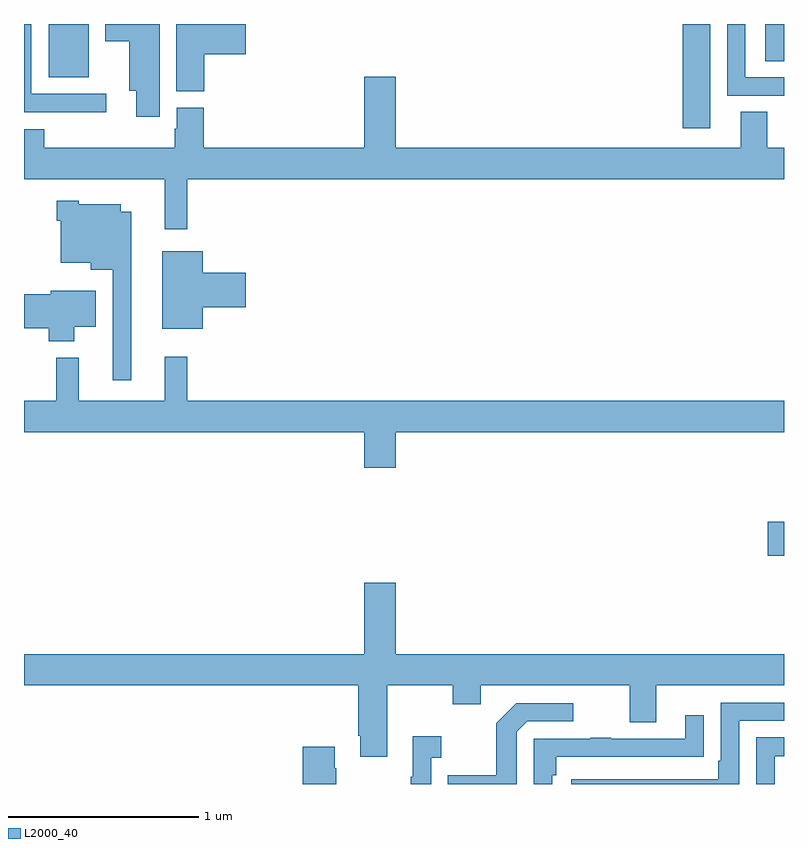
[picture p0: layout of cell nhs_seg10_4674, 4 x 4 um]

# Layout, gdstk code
import gdstk
lib = gdstk.Library(unit=1e-6, precision=1e-09)
def R(c, l, rs):  # rectangles x0, y0, x1, y1
    for r in rs: c.add(gdstk.rectangle(r[:2], r[2:], *l))
def P(c, l, *ps):  # polygons
    for p in ps: c.add(gdstk.Polygon(p, *l))
L2000_40 = (2000, 40)

nhs_seg10_4674 = lib.new_cell('nhs_seg10_4674')
R(nhs_seg10_4674, L2000_40, [(382.914,1263.701,383,1263.879), (382.466,1265.952,382.612,1266.5), (379.13,1266.221,379.342,1266.5), (382.901,1266.304,383,1266.5)])
P(nhs_seg10_4674, L2000_40, [(379.949,1266.341),(380.167,1266.341),(380.167,1266.5),(379.802,1266.5),(379.802,1266.145),(379.949,1266.145)],
  [(379.432,1266.132),(379.039,1266.132),(379.039,1266.5),(379,1266.5),(379,1266.035),(379.432,1266.035)],
  [(379.714,1266.5),(379.427,1266.5),(379.427,1266.41),(379.553,1266.41),(379.553,1266.149),(379.592,1266.149),(379.592,1266.012),(379.714,1266.012)],
  [(383,1266.219),(382.797,1266.219),(382.797,1266.5),(382.701,1266.5),(382.701,1266.123),(383,1266.123)],
  [(383,1265.848),(382.912,1265.848),(382.912,1266.038),(382.772,1266.038),(382.772,1265.848),(380.956,1265.848),(380.956,1266.223),(380.792,1266.223),(380.792,1265.848),(379.946,1265.848),(379.946,1266.06),(379.805,1266.06),(379.805,1265.949),(379.793,1265.949),(379.793,1265.848),(379.106,1265.848),(379.106,1265.947),(379,1265.947),(379,1265.684),(379.741,1265.684),(379.741,1265.421),(379.859,1265.421),(379.859,1265.684),(383,1265.684)],
  [(379.564,1265.512),(379.51,1265.512),(379.51,1265.551),(379.287,1265.551),(379.287,1265.569),(379.172,1265.569),(379.172,1265.465),(379.193,1265.465),(379.193,1265.243),(379.352,1265.243),(379.352,1265.207),(379.467,1265.207),(379.467,1264.626),(379.564,1264.626)],
  [(379.942,1265.009),(380.167,1265.009),(380.167,1265.192),(379.942,1265.192),(379.942,1265.305),(379.727,1265.305),(379.727,1264.895),(379.942,1264.895)],
  [(379.264,1264.907),(379.378,1264.907),(379.378,1265.095),(379.142,1265.095),(379.142,1265.078),(379,1265.078),(379,1264.9),(379.13,1264.9),(379.13,1264.829),(379.264,1264.829)],
  [(380.956,1264.352),(383,1264.352),(383,1264.516),(379.859,1264.516),(379.859,1264.75),(379.742,1264.75),(379.742,1264.516),(379.289,1264.516),(379.289,1264.744),(379.171,1264.744),(379.171,1264.516),(379,1264.516),(379,1264.352),(380.792,1264.352),(380.792,1264.164),(380.956,1264.164)],
  [(380.911,1263.02),(381.256,1263.02),(381.256,1262.921),(381.403,1262.921),(381.403,1263.02),(382.187,1263.02),(382.187,1262.826),(382.327,1262.826),(382.327,1263.02),(383,1263.02),(383,1263.184),(380.956,1263.184),(380.956,1263.559),(380.792,1263.559),(380.792,1263.184),(379,1263.184),(379,1263.02),(380.759,1263.02),(380.759,1262.755),(380.771,1262.755),(380.771,1262.643),(380.911,1262.643)],
  [(382.764,1262.832),(383,1262.832),(383,1262.928),(382.668,1262.928),(382.668,1262.623),(382.655,1262.623),(382.655,1262.526),(381.879,1262.526),(381.879,1262.5),(382.764,1262.5)],
  [(381.594,1262.775),(381.648,1262.829),(381.892,1262.829),(381.892,1262.925),(381.591,1262.925),(381.486,1262.819),(381.486,1262.547),(381.229,1262.547),(381.229,1262.5),(381.594,1262.5)],
  [(381.78,1262.546),(381.8,1262.546),(381.8,1262.643),(382.475,1262.643),(382.475,1262.644),(382.577,1262.644),(382.577,1262.863),(382.481,1262.863),(382.481,1262.739),(382.091,1262.739),(382.091,1262.744),(381.979,1262.744),(381.979,1262.739),(381.684,1262.739),(381.684,1262.5),(381.78,1262.5)],
  [(381.144,1262.639),(381.196,1262.639),(381.196,1262.752),(381.047,1262.752),(381.047,1262.539),(381.036,1262.539),(381.036,1262.5),(381.144,1262.5)],
  [(382.95,1262.646),(383,1262.646),(383,1262.747),(382.854,1262.747),(382.854,1262.5),(382.95,1262.5)],
  [(380.643,1262.582),(380.635,1262.582),(380.635,1262.695),(380.468,1262.695),(380.468,1262.5),(380.643,1262.5)])

lib.write_gds('nhs_seg10_4674.gds')
